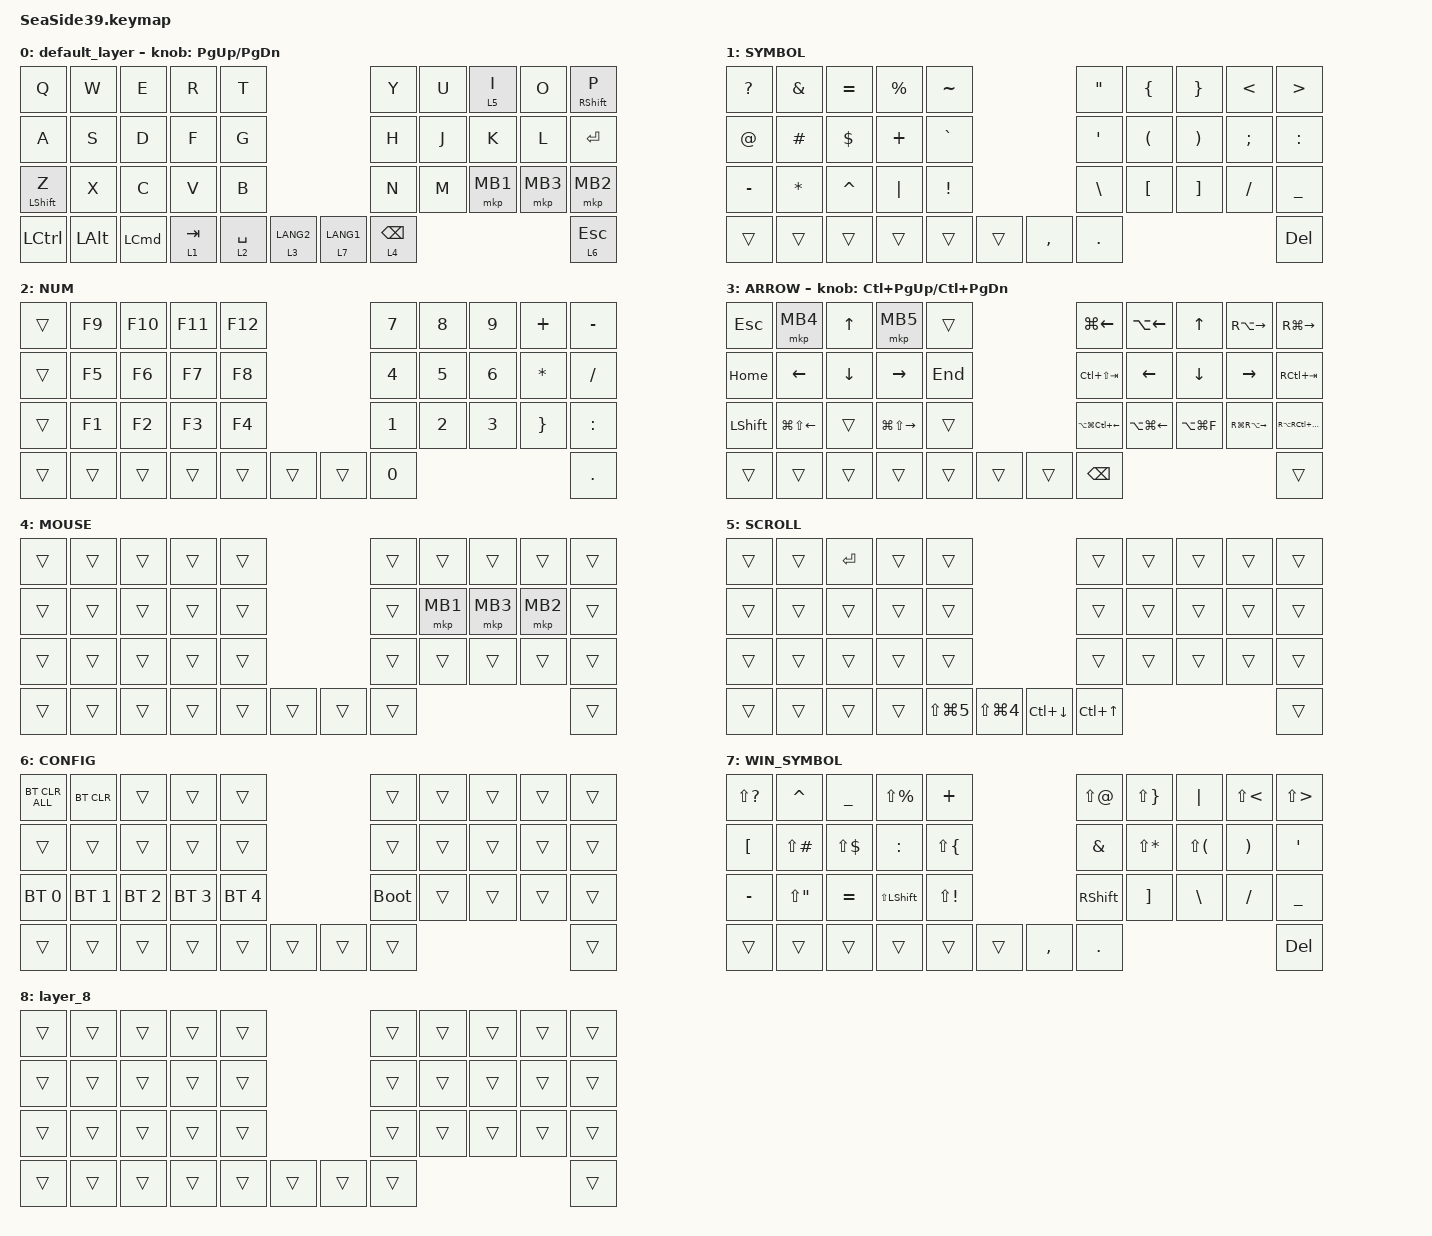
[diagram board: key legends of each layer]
#include <behaviors.dtsi>
#include <dt-bindings/zmk/bt.h>
#include <dt-bindings/zmk/keys.h>
#include <dt-bindings/zmk/pointing.h>

#define MOUSE 4
#define SCROLL 5
#define NUM 6

&mt {
    flavor = "balanced";
    quick-tap-ms = <300>;
};

&lt {
    flavor = "balanced";
    quick-tap-ms = <300>;
};

/ {
    combos { compatible = "zmk,combos"; };

    macros {
        to_layer_0: to_layer_0 {
            compatible = "zmk,behavior-macro-one-param";
            #binding-cells = <1>;
            bindings = <&to 0 &macro_param_1to1 &kp MACRO_PLACEHOLDER>;
            label = "TO_LAYER_0";
        };
    };

    behaviors {
        lt_to_layer_0: lt_to_layer_0 {
            compatible = "zmk,behavior-hold-tap";
            label = "LAYER_TAP_TO_0";
            bindings = <&mo>, <&to_layer_0>;

            #binding-cells = <2>;
            tapping-term-ms = <200>;
        };
    };

    keymap {
        compatible = "zmk,keymap";

        default_layer {
            bindings = <
&kp Q             &kp W         &kp E             &kp R      &kp T                                      &kp Y            &kp U  &lt 5 I   &kp O     &mt RIGHT_SHIFT P
&kp A             &kp S         &kp D             &kp F      &kp G                                      &kp H            &kp J  &kp K     &kp L     &kp ENTER
&mt LEFT_SHIFT Z  &kp X         &kp C             &kp V      &kp B                                      &kp N            &kp M  &mkp MB1  &mkp MB3  &mkp MB2
&kp LCTRL         &kp LEFT_ALT  &kp LEFT_COMMAND  &lt 1 TAB  &lt 2 SPACE  &lt 3 LANG2      &lt 7 LANG1  &lt 4 BACKSPACE                             &lt 6 ESCAPE
            >;

            sensor-bindings = <&inc_dec_kp PG_UP PAGE_DOWN>;
        };

        SYMBOL {
            bindings = <
&kp QUESTION  &kp AMPERSAND  &kp EQUAL   &kp PERCENT  &kp TILDE                               &kp DOUBLE_QUOTES  &kp LEFT_BRACE        &kp RIGHT_BRACE        &kp LESS_THAN  &kp GREATER_THAN
&kp AT        &kp HASH       &kp DOLLAR  &kp PLUS     &kp GRAVE                               &kp SINGLE_QUOTE   &kp LEFT_PARENTHESIS  &kp RIGHT_PARENTHESIS  &kp SEMI       &kp COLON
&kp MINUS     &kp ASTRK      &kp CARET   &kp PIPE     &kp EXCLAMATION                         &kp BSLH           &kp LBKT              &kp RBKT               &kp SLASH      &kp UNDERSCORE
&trans        &trans         &trans      &trans       &trans           &trans      &kp COMMA  &kp PERIOD                                                                     &kp DELETE
            >;
        };

        NUM {
            bindings = <
&trans  &kp F9  &kp F10  &kp F11  &kp F12                      &kp N7        &kp NUMBER_8  &kp NUMBER_9  &kp PLUS         &kp MINUS
&trans  &kp F5  &kp F6   &kp F7   &kp F8                       &kp NUMBER_4  &kp NUMBER_5  &kp NUMBER_6  &kp ASTERISK     &kp SLASH
&trans  &kp F1  &kp F2   &kp F3   &kp F4                       &kp NUMBER_1  &kp NUMBER_2  &kp NUMBER_3  &kp RIGHT_BRACE  &kp COLON
&trans  &trans  &trans   &trans   &trans   &trans      &trans  &kp NUMBER_0                                               &kp PERIOD
            >;
        };

        ARROW {
            bindings = <
&kp ESCAPE      &mkp MB4                &kp UP_ARROW    &mkp MB5                 &trans                       &kp LG(LEFT_ARROW)          &kp LA(LEFT_ARROW)      &kp UP_ARROW    &kp RA(RIGHT_ARROW)      &kp RG(RIGHT_ARROW)
&kp HOME        &kp LEFT_ARROW          &kp DOWN_ARROW  &kp RIGHT_ARROW          &kp END                      &kp LC(LS(TAB))             &kp LEFT_ARROW          &kp DOWN_ARROW  &kp RIGHT_ARROW          &kp RC(TAB)
&kp LEFT_SHIFT  &kp LG(LS(LEFT_ARROW))  &trans          &kp LG(LS(RIGHT_ARROW))  &trans                       &kp LA(LG(LC(LEFT_ARROW)))  &kp LA(LG(LEFT_ARROW))  &kp LA(LG(F))   &kp RG(RA(RIGHT_ARROW))  &kp RA(RC(RG(RIGHT_ARROW)))
&trans          &trans                  &trans          &trans                   &trans   &trans      &trans  &kp BACKSPACE                                                                                &trans
            >;

            sensor-bindings = <&inc_dec_kp LC(PAGE_UP) LC(PAGE_DOWN)>;
        };

        MOUSE {
            bindings = <
&trans  &trans  &trans  &trans  &trans                      &trans  &trans    &trans    &trans    &trans
&trans  &trans  &trans  &trans  &trans                      &trans  &mkp MB1  &mkp MB3  &mkp MB2  &trans
&trans  &trans  &trans  &trans  &trans                      &trans  &trans    &trans    &trans    &trans
&trans  &trans  &trans  &trans  &trans  &trans      &trans  &trans                                &trans
            >;
        };

        SCROLL {
            bindings = <
&trans  &trans  &kp ENTER  &trans  &trans                                            &trans            &trans  &trans  &trans  &trans
&trans  &trans  &trans     &trans  &trans                                            &trans            &trans  &trans  &trans  &trans
&trans  &trans  &trans     &trans  &trans                                            &trans            &trans  &trans  &trans  &trans
&trans  &trans  &trans     &trans  &kp LS(LG(N5))  &kp LS(LG(N4))      &kp LC(DOWN)  &kp LC(UP_ARROW)                          &trans
            >;
        };

        CONFIG {
            bindings = <
&bt BT_CLR_ALL  &bt BT_CLR    &trans        &trans        &trans                            &trans       &trans  &trans  &trans  &trans
&trans          &trans        &trans        &trans        &trans                            &trans       &trans  &trans  &trans  &trans
&bt BT_SEL 0    &bt BT_SEL 1  &bt BT_SEL 2  &bt BT_SEL 3  &bt BT_SEL 4                      &bootloader  &trans  &trans  &trans  &trans
&trans          &trans        &trans        &trans        &trans        &trans      &trans  &trans                               &trans
            >;
        };

        WIN_SYMBOL {
            bindings = <
&kp LS(QMARK)     &kp CARET              &kp UNDERSCORE  &kp LS(PRCNT)       &kp PLUS                                   &kp LS(AT_SIGN)  &kp LS(RIGHT_BRACE)  &kp PIPE                  &kp LS(LT)             &kp LS(GT)
&kp LEFT_BRACKET  &kp LS(POUND)          &kp LS(DLLR)    &kp COLON           &kp LS(LEFT_BRACE)                         &kp AMPERSAND    &kp LS(ASTERISK)     &kp LS(LEFT_PARENTHESIS)  &kp RIGHT_PARENTHESIS  &kp SQT
&kp MINUS         &kp LS(DOUBLE_QUOTES)  &kp EQUAL       &kp LS(LEFT_SHIFT)  &kp LS(EXCL)                               &kp RIGHT_SHIFT  &kp RIGHT_BRACKET    &kp BACKSLASH             &kp FSLH               &kp UNDER
&trans            &trans                 &trans          &trans              &trans              &trans      &kp COMMA  &kp DOT                                                                                &kp DEL
            >;
        };

        layer_8 {
            bindings = <
&trans  &trans  &trans  &trans  &trans                      &trans  &trans  &trans  &trans  &trans
&trans  &trans  &trans  &trans  &trans                      &trans  &trans  &trans  &trans  &trans
&trans  &trans  &trans  &trans  &trans                      &trans  &trans  &trans  &trans  &trans
&trans  &trans  &trans  &trans  &trans  &trans      &trans  &trans                          &trans
            >;
        };
    };
};
